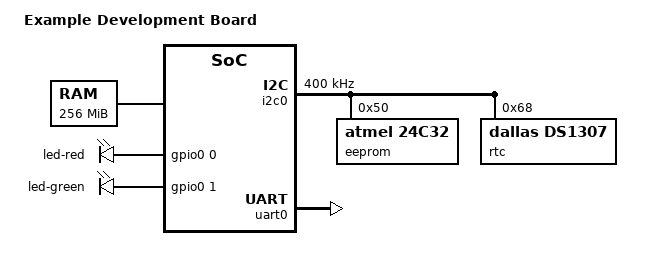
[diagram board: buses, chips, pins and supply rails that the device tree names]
/*
 * Example Device Tree Source file
 */

/dts-v1/;
/ {
    compatible = "example,device";
    model = "Example Development Board";
    #address-cells = <1>;
    #size-cells = <1>;
    
    /* System memory */
    memory@40000000 {
        device_type = "memory";
        reg = <0x40000000 0x10000000>; /* 256MB */
    };
    
    cpus {
        #address-cells = <1>;
        #size-cells = <0>;
        
        cpu0: cpu@0 {
            compatible = "arm,cortex-a53";
            device_type = "cpu";
            reg = <0>;
            clock-frequency = <1200000000>;
        };
        
        cpu1: cpu@1 {
            compatible = "arm,cortex-a53";
            device_type = "cpu";
            reg = <1>;
            clock-frequency = <1200000000>;
        };
    };
    
    soc {
        compatible = "simple-bus";
        #address-cells = <1>;
        #size-cells = <1>;
        ranges;
        
        gpio0: gpio@13400000 {
            compatible = "vendor,gpio";
            reg = <0x13400000 0x1000>;
            interrupts = <0 46 4>;
            gpio-controller;
            #gpio-cells = <2>;
        };
        
        i2c0: i2c@13460000 {
            compatible = "vendor,i2c";
            reg = <0x13460000 0x1000>;
            interrupts = <0 40 4>;
            clock-frequency = <400000>;
            status = "okay";
            
            eeprom@50 {
                compatible = "atmel,24c32";
                reg = <0x50>;
                pagesize = <32>;
            };
            
            rtc@68 {
                compatible = "dallas,ds1307";
                reg = <0x68>;
            };
        };
        
        uart0: serial@13800000 {
            compatible = "vendor,uart";
            reg = <0x13800000 0x100>;
            interrupts = <0 64 4>;
            clock-frequency = <24000000>;
            status = "okay";
        };
    };
    
    leds {
        compatible = "gpio-leds";
        
        led-red {
            gpios = <&gpio0 0 0>;
            linux,default-trigger = "heartbeat";
            default-state = "off";
        };
        
        led-green {
            gpios = <&gpio0 1 0>;
            linux,default-trigger = "mmc0";
            default-state = "off";
        };
    };
}; 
